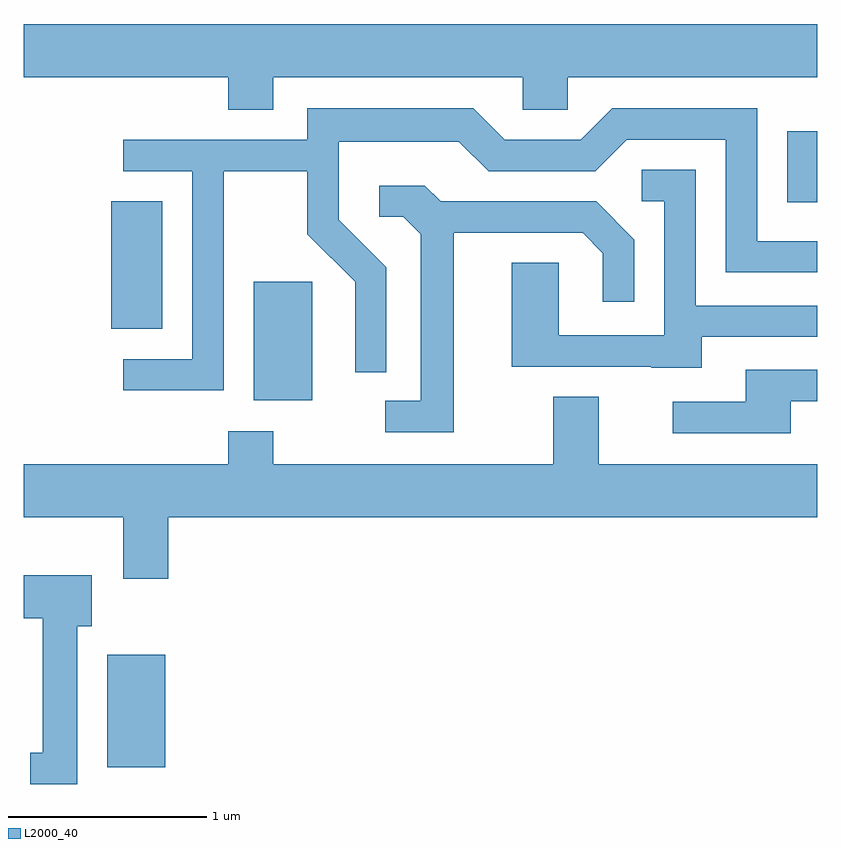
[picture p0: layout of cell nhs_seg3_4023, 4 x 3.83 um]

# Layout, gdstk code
import gdstk
lib = gdstk.Library(unit=1e-6, precision=1e-09)
def R(c, l, rs):  # rectangles x0, y0, x1, y1
    for r in rs: c.add(gdstk.rectangle(r[:2], r[2:], *l))
def P(c, l, *ps):  # polygons
    for p in ps: c.add(gdstk.Polygon(p, *l))
L2000_40 = (2000, 40)

nhs_seg3_4023 = lib.new_cell('nhs_seg3_4023')
R(nhs_seg3_4023, L2000_40, [(304.031,1138.076,304.324,1138.644), (304.771,1139.926,305.064,1140.524), (304.051,1140.286,304.309,1140.929), (307.461,1140.926,307.611,1141.283)])
P(nhs_seg3_4023, L2000_40, [(304.869,1141.556),(306.126,1141.556),(306.126,1141.391),(306.354,1141.391),(306.354,1141.556),(307.611,1141.556),(307.611,1141.824),(303.611,1141.824),(303.611,1141.556),(304.641,1141.556),(304.641,1141.391),(304.869,1141.391)],
  [(304.619,1141.081),(305.041,1141.081),(305.041,1140.764),(305.281,1140.524),(305.281,1140.068),(305.439,1140.068),(305.439,1140.597),(305.199,1140.837),(305.199,1141.231),(305.804,1141.231),(305.954,1141.081),(306.492,1141.081),(306.652,1141.241),(307.151,1141.241),(307.151,1140.571),(307.611,1140.571),(307.611,1140.729),(307.309,1140.729),(307.309,1141.399),(306.579,1141.399),(306.419,1141.239),(306.037,1141.239),(305.877,1141.399),(305.041,1141.399),(305.041,1141.239),(304.113,1141.239),(304.113,1141.081),(304.461,1141.081),(304.461,1140.134),(304.113,1140.134),(304.113,1139.976),(304.619,1139.976)],
  [(307.029,1140.246),(307.611,1140.246),(307.611,1140.404),(306.999,1140.404),(306.999,1141.089),(306.728,1141.089),(306.728,1140.931),(306.841,1140.931),(306.841,1140.254),(306.309,1140.254),(306.309,1140.619),(306.071,1140.619),(306.071,1140.096),(306.775,1140.096),(306.775,1140.091),(307.029,1140.091)],
  [(305.779,1140.771),(306.429,1140.771),(306.531,1140.669),(306.531,1140.423),(306.689,1140.423),(306.689,1140.737),(306.497,1140.929),(305.712,1140.929),(305.632,1141.009),(305.403,1141.009),(305.403,1140.851),(305.524,1140.851),(305.611,1140.764),(305.611,1139.924),(305.433,1139.924),(305.433,1139.766),(305.779,1139.766)],
  [(307.479,1139.921),(307.611,1139.921),(307.611,1140.079),(307.251,1140.079),(307.251,1139.919),(306.883,1139.919),(306.883,1139.761),(307.479,1139.761)],
  [(304.339,1139.336),(307.611,1139.336),(307.611,1139.604),(306.509,1139.604),(306.509,1139.944),(306.281,1139.944),(306.281,1139.604),(304.869,1139.604),(304.869,1139.769),(304.641,1139.769),(304.641,1139.604),(303.611,1139.604),(303.611,1139.336),(304.111,1139.336),(304.111,1139.026),(304.339,1139.026)],
  [(303.879,1138.786),(303.954,1138.786),(303.954,1139.044),(303.611,1139.044),(303.611,1138.826),(303.706,1138.826),(303.706,1138.149),(303.643,1138.149),(303.643,1137.991),(303.879,1137.991)])

lib.write_gds('nhs_seg3_4023.gds')
